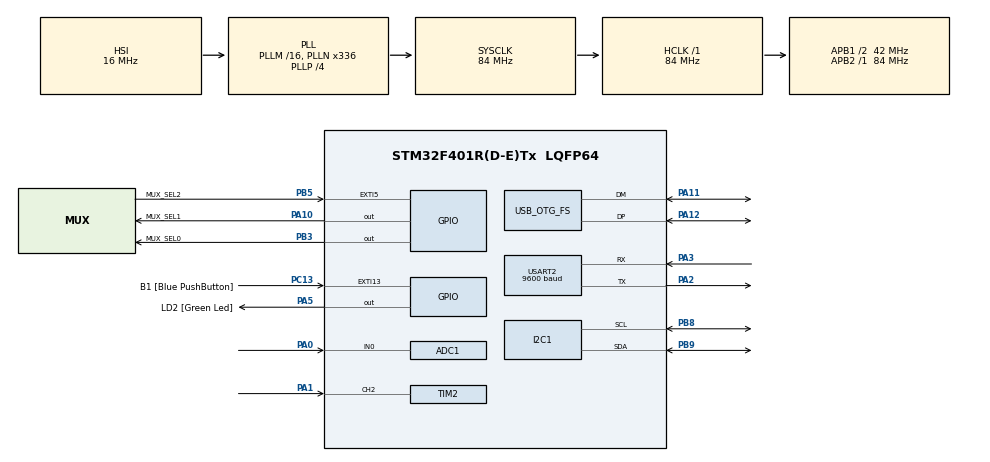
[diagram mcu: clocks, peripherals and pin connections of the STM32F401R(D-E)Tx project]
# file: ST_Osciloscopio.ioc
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ADC1.Channel-0\#ChannelRegularConversion=ADC_CHANNEL_0
ADC1.DMAContinuousRequests=ENABLE
ADC1.EOCSelection=ADC_EOC_SEQ_CONV
ADC1.ExternalTrigConv=ADC_EXTERNALTRIGCONV_T3_TRGO
ADC1.NbrOfConversionFlag=1
ADC1.Rank-0\#ChannelRegularConversion=1
ADC1.SamplingTime-0\#ChannelRegularConversion=ADC_SAMPLETIME_3CYCLES
ADC1.master=1
Dma.ADC1.1.Direction=DMA_PERIPH_TO_MEMORY
Dma.ADC1.1.FIFOMode=DMA_FIFOMODE_DISABLE
Dma.ADC1.1.Instance=DMA2_Stream0
Dma.ADC1.1.MemDataAlignment=DMA_MDATAALIGN_WORD
Dma.ADC1.1.MemInc=DMA_MINC_ENABLE
Dma.ADC1.1.Mode=DMA_NORMAL
Dma.ADC1.1.PeriphDataAlignment=DMA_PDATAALIGN_WORD
Dma.ADC1.1.PeriphInc=DMA_PINC_DISABLE
Dma.ADC1.1.Priority=DMA_PRIORITY_LOW
Dma.Request0=USART2_TX
Dma.Request1=ADC1
Dma.USART2_TX.0.Direction=DMA_MEMORY_TO_PERIPH
Dma.USART2_TX.0.FIFOMode=DMA_FIFOMODE_DISABLE
Dma.USART2_TX.0.Instance=DMA1_Stream6
Dma.USART2_TX.0.MemDataAlignment=DMA_MDATAALIGN_BYTE
Dma.USART2_TX.0.MemInc=DMA_MINC_ENABLE
Dma.USART2_TX.0.Mode=DMA_NORMAL
Dma.USART2_TX.0.PeriphDataAlignment=DMA_PDATAALIGN_BYTE
Dma.USART2_TX.0.PeriphInc=DMA_PINC_DISABLE
Dma.USART2_TX.0.Priority=DMA_PRIORITY_LOW
FREERTOS.Tasks01=defaultTask,0,128,StartDefaultTask,Default,NULL,Dynamic,NULL,NULL
Mcu.Family=STM32F4
Mcu.Name=STM32F401R(D-E)Tx
Mcu.Package=LQFP64
NVIC.DMA1_Stream6_IRQn=true\:5\:0\:false\:false\:true\:true\:false\:true\:true
NVIC.DMA2_Stream0_IRQn=true\:5\:0\:false\:false\:true\:true\:false\:true\:true
NVIC.OTG_FS_IRQn=true\:5\:0\:false\:false\:true\:true\:false\:true\:true
NVIC.PriorityGroup=NVIC_PRIORITYGROUP_4
NVIC.TIM1_UP_TIM10_IRQn=true\:15\:0\:false\:false\:true\:false\:false\:true\:true
NVIC.TIM2_IRQn=true\:5\:0\:false\:false\:true\:true\:true\:true\:true
NVIC.TIM3_IRQn=true\:5\:0\:false\:false\:true\:true\:true\:true\:true
NVIC.TimeBase=TIM1_UP_TIM10_IRQn
NVIC.TimeBaseIP=TIM1
PA0-WKUP.Signal=ADCx_IN0
PA1.GPIO_PuPd=GPIO_PULLUP
PA1.Signal=S_TIM2_CH2
PA10.GPIO_Label=MUX_SEL1
PA10.Signal=GPIO_Output
PA11.Mode=Device_Only
PA11.Signal=USB_OTG_FS_DM
PA12.Mode=Device_Only
PA12.Signal=USB_OTG_FS_DP
PA13.GPIO_Label=TMS
PA13.Mode=Serial_Wire
PA13.Signal=SYS_JTMS-SWDIO
PA14.GPIO_Label=TCK
PA14.Mode=Serial_Wire
PA14.Signal=SYS_JTCK-SWCLK
PA2.Mode=Asynchronous
PA2.Signal=USART2_TX
PA3.Mode=Asynchronous
PA3.Signal=USART2_RX
PA5.GPIO_Label=LD2 [Green Led]
PA5.GPIO_Mode=GPIO_MODE_OUTPUT_PP
PA5.GPIO_PuPd=GPIO_NOPULL
PA5.GPIO_Speed=GPIO_SPEED_FREQ_LOW
PA5.Signal=GPIO_Output
PB3.GPIO_Label=MUX_SEL0
PB3.Signal=GPIO_Output
PB5.GPIO_Label=MUX_SEL2
PB5.Signal=GPXTI5
PB8.Mode=I2C
PB8.Signal=I2C1_SCL
PB9.Mode=I2C
PB9.Signal=I2C1_SDA
PC13-ANTI_TAMP.GPIO_Label=B1 [Blue PushButton]
PC13-ANTI_TAMP.GPIO_ModeDefaultEXTI=GPIO_MODE_IT_FALLING
PC13-ANTI_TAMP.GPIO_PuPd=GPIO_NOPULL
PC13-ANTI_TAMP.Signal=GPXTI13
PC14-OSC32_IN.Mode=LSE-External-Oscillator
PC14-OSC32_IN.Signal=RCC_OSC32_IN
PC15-OSC32_OUT.Mode=LSE-External-Oscillator
PC15-OSC32_OUT.Signal=RCC_OSC32_OUT
PH0\ -\ OSC_IN.Mode=HSE-External-Clock-Source
PH0\ -\ OSC_IN.Signal=RCC_OSC_IN
PH1\ -\ OSC_OUT.Mode=HSE-External-Clock-Source
PH1\ -\ OSC_OUT.Signal=RCC_OSC_OUT
ProjectManager.HeapSize=0x200
ProjectManager.StackSize=0x400
ProjectManager.TargetToolchain=STM32CubeIDE
RCC.48MHZClocksFreq_Value=48000000
RCC.AHBFreq_Value=84000000
RCC.APB1CLKDivider=RCC_HCLK_DIV2
RCC.APB1Freq_Value=42000000
RCC.APB1TimFreq_Value=84000000
RCC.APB2Freq_Value=84000000
RCC.APB2TimFreq_Value=84000000
RCC.CortexFreq_Value=84000000
RCC.HCLKFreq_Value=84000000
RCC.HSE_VALUE=8000000
RCC.HSI_VALUE=16000000
RCC.PLLN=336
RCC.PLLP=RCC_PLLP_DIV4
RCC.PLLQ=7
RCC.PLLSource=RCC_PLLSOURCE_HSI
RCC.PLLSourceVirtualString=RCC_PLLSOURCE_HSI
RCC.SYSCLKFreq_VALUE=84000000
RCC.SYSCLKSource=RCC_SYSCLKSOURCE_PLLCLK
RCC.VCOOutputFreq_Value=336000000
SH.ADCx_IN0.0=ADC1_IN0,IN0
SH.S_TIM2_CH2.0=TIM2_CH2,Input_Capture2_from_TI2
TIM2.Channel-Input_Capture2_from_TI2=TIM_CHANNEL_2
TIM2.Prescaler=41999
TIM3.Prescaler=0
TIM3.TIM_MasterOutputTrigger=TIM_TRGO_UPDATE
TIM3.TIM_MasterSlaveMode=TIM_MASTERSLAVEMODE_DISABLE
USART2.BaudRate=9600
USART2.VirtualMode=VM_ASYNC
USB_DEVICE.CLASS_NAME_FS=CUSTOM_HID
USB_DEVICE.VirtualMode-CUSTOM_HID_FS=CustomHid
USB_DEVICE.VirtualModeFS=Custom_Hid_FS
USB_OTG_FS.VirtualMode=Device_Only
VP_FREERTOS_VS_CMSIS_V1.Mode=CMSIS_V1
VP_SYS_VS_tim1.Mode=TIM1
VP_TIM2_VS_ClockSourceINT.Mode=Internal
VP_TIM3_VS_ClockSourceINT.Mode=Internal
VP_USB_DEVICE_VS_USB_DEVICE_CUSTOM_HID_FS.Mode=CUSTOM_HID_FS
board=NUCLEO-F401RE

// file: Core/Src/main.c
/* USER CODE BEGIN Header */
/**
  ******************************************************************************
  * @file           : main.c
  * @brief          : Main program body
  ******************************************************************************
  * @attention
  *
  * Copyright (c) 2022 STMicroelectronics.
  * All rights reserved.
  *
  * This software is licensed under terms that can be found in the LICENSE file
  * in the root directory of this software component.
  * If no LICENSE file comes with this software, it is provided AS-IS.
  *
  ******************************************************************************
  */
/* USER CODE END Header */
#include "main.h"
#include "cmsis_os.h"
#include "usb_device.h"

/* USER CODE BEGIN Includes */
#include "arm_math.h"
#include "arm_const_structs.h"
#include "usbd_custom_hid_if.h"
#include "usbd_customhid.h"
/* USER CODE END Includes */

/* USER CODE BEGIN PD */
#define	NS				512
/* USER CODE END PD */

/* USER CODE BEGIN PM */
extern uint32_t Wave_LUT[NS];
uint32_t adc_buffer[NS];
uint8_t bufferTx[1024];
uint8_t flag = 0;
int trigger_point = 1;
int trigger_level = 2048;
/* USER CODE END PM */

ADC_HandleTypeDef hadc1;
DMA_HandleTypeDef hdma_adc1;

I2C_HandleTypeDef hi2c1;

TIM_HandleTypeDef htim2;
TIM_HandleTypeDef htim3;

UART_HandleTypeDef huart2;
DMA_HandleTypeDef hdma_usart2_tx;

osThreadId defaultTaskHandle;
/* USER CODE BEGIN PV */
uint8_t pData [10] = {'\0'};
SemaphoreHandle_t xSemaphoreFrecuency1 = NULL;
SemaphoreHandle_t xSemaphoreFrecuency0 = NULL;

uint32_t Cuenta = 0;
uint32_t Frecuencia = 0;
/* USER CODE END PV */

void SystemClock_Config(void);
static void MX_GPIO_Init(void);
static void MX_DMA_Init(void);
static void MX_I2C1_Init(void);
static void MX_TIM2_Init(void);
static void MX_ADC1_Init(void);
static void MX_TIM3_Init(void);
static void MX_USART2_UART_Init(void);
void StartDefaultTask(void const * argument);

/* USER CODE BEGIN 0 */
void HAL_ADC_ConvCpltCallback(ADC_HandleTypeDef* hadc)
{
	int i;
	int j = 0;
	for(i = 0; i < NS; i++)
	{
	  bufferTx[j] = (uint8_t)((adc_buffer[i]>>8)&0xFF);
	  bufferTx[j+1] = (uint8_t)((adc_buffer[i])&0xFF);
	  j+=2;
	}
}
void HAL_ADC_ConvHalfCpltCallback(ADC_HandleTypeDef* hadc){
	/*
	for(int i = 0; i <= NS; i++)
	{
		// flanco descendente
		if((adc_buffer[i] > trigger_level ) && (adc_buffer[i+1]) < trigger_level )
		{
			trigger_point = i;
			break;
		}
	}
	*/
}

void HAL_TIM_IC_CaptureCallback(TIM_HandleTypeDef *htim)
{
	/*
	if(flag){
		HAL_ADC_Start_DMA(&hadc1, adc_buffer, 2048);
		flag = 0;
	}
	*/
	BaseType_t xHigherPriorityTaskWoken = pdFALSE;
	xSemaphoreGiveFromISR( xSemaphoreFrecuency0, &xHigherPriorityTaskWoken );
	portYIELD_FROM_ISR( xHigherPriorityTaskWoken );
}

void TaskFreucuency (void * parameters)
{

	HAL_TIM_IC_Start_IT(&htim2, TIM_CHANNEL_2);
	uint32_t i;
	i = (uint32_t) parameters;
	switch(i)
	{
	case 0:
		HAL_GPIO_WritePin(MUX_SEL0_GPIO_Port, MUX_SEL0_Pin, GPIO_PIN_RESET);
		HAL_GPIO_WritePin(MUX_SEL1_GPIO_Port, MUX_SEL1_Pin, GPIO_PIN_RESET);
		HAL_GPIO_WritePin(MUX_SEL2_GPIO_Port, MUX_SEL2_Pin, GPIO_PIN_RESET);
		while(1)
		{
			if(xSemaphoreTake(xSemaphoreFrecuency0, portMAX_DELAY) == pdTRUE)
			{
				Cuenta++;
			}
			if(xSemaphoreTake(xSemaphoreFrecuency1,0)==pdTRUE)
			{
				Frecuencia = (uint32_t)(1.024 * ((float) Cuenta) -2.1196);
				//Frecuencia = Cuenta;
				Cuenta = 0;
				pData[0] = (uint8_t) (Frecuencia/10000) + '0';
				Frecuencia %=10000;
				pData[1] = (uint8_t) (Frecuencia/1000) + '0';
				Frecuencia %=1000;
				pData[2] = ',';
				pData[3] = (uint8_t) (Frecuencia/100) + '0';
				Frecuencia %=100;
				pData[4] = (uint8_t) (Frecuencia/10) + '0';
				Frecuencia %=10;
				pData[5] = (uint8_t) (Frecuencia) + '0';
				pData[6] = 'H';
				pData[7] = 'z';
				pData[8] = '\r';
				pData[9] = '\n';
				if(pData[0] == '0')
				{
					if(pData[1]== '0')
					{
						if(pData[3]=='0')
						{
							pData[6] = 'H';
							pData[7] = 'z';
							pData[8] = '\r';
							pData[9] = '\n';
							HAL_UART_Transmit(&huart2, &pData[4], 6, HAL_MAX_DELAY);

						} else {
							pData[6] = 'H';
							pData[7] = 'z';
							pData[8] = '\r';
							pData[9] = '\n';
							HAL_UART_Transmit(&huart2, &pData[3], 7, HAL_MAX_DELAY);
						}

					} else {
						pData[5] = 'K';
						pData[6] = 'H';
						pData[7] = 'z';
						pData[8] = '\r';
						pData[9] = '\n';
						HAL_UART_Transmit(&huart2, &pData[1], 10, HAL_MAX_DELAY);
									}
				}  else {
					pData[5] = 'K';
					pData[6] = 'H';
					pData[7] = 'z';
					pData[8] = '\r';
					pData[9] = '\n';
					HAL_UART_Transmit(&huart2, pData, 10, HAL_MAX_DELAY);
				}
			}

		}
	case 1:
		while(1)
		{
			vTaskDelay(1000/portTICK_RATE_MS);
			xSemaphoreGive(xSemaphoreFrecuency1);
		}
	}
}

/* USER CODE END 0 */

int main(void)
{

  /* MCU Configuration--------------------------------------------------------*/

  /* Reset of all peripherals, Initializes the Flash interface and the Systick. */
  HAL_Init();

  /* Configure the system clock */
  SystemClock_Config();

  /* Initialize all configured peripherals */
  MX_GPIO_Init();
  MX_DMA_Init();
  MX_I2C1_Init();
  MX_TIM2_Init();
  MX_ADC1_Init();
  MX_TIM3_Init();
  MX_USART2_UART_Init();
  /* USER CODE BEGIN 2 */
  MX_USB_DEVICE_Init();
  HAL_ADC_Start_DMA(&hadc1, adc_buffer, NS);
  HAL_TIM_Base_Start(&htim3);
  HAL_GPIO_WritePin(MUX_SEL0_GPIO_Port, MUX_SEL0_Pin, GPIO_PIN_RESET);
  HAL_GPIO_WritePin(MUX_SEL1_GPIO_Port, MUX_SEL1_Pin, GPIO_PIN_RESET);
  HAL_GPIO_WritePin(MUX_SEL2_GPIO_Port, MUX_SEL2_Pin, GPIO_PIN_RESET);
  /* USER CODE END 2 */

  /* USER CODE BEGIN RTOS_SEMAPHORES */
  xSemaphoreFrecuency1 = xSemaphoreCreateBinary();
  xSemaphoreTake(xSemaphoreFrecuency1, 0);
  xSemaphoreFrecuency0 = xSemaphoreCreateBinary();
  xSemaphoreTake(xSemaphoreFrecuency0, 0);
  /* USER CODE END RTOS_SEMAPHORES */

  /* Create the thread(s) */
  /* definition and creation of defaultTask */

  /* USER CODE BEGIN RTOS_THREADS */
  xTaskCreate(TaskFreucuency, "Task Freucuency 0", configMINIMAL_STACK_SIZE, (void*)0, tskIDLE_PRIORITY+1, NULL);
  xTaskCreate(TaskFreucuency, "Task Freucuency 1", configMINIMAL_STACK_SIZE, (void*)1, tskIDLE_PRIORITY+1, NULL);
  /* USER CODE END RTOS_THREADS */

  /* Start scheduler */

  /* We should never get here as control is now taken by the scheduler */
  /* Infinite loop */
  /* USER CODE BEGIN WHILE */
  vTaskStartScheduler();
  while (1)
  {
    /* USER CODE END WHILE */

  }
}

void SystemClock_Config(void)
{
  RCC_OscInitTypeDef RCC_OscInitStruct = {0};
  RCC_ClkInitTypeDef RCC_ClkInitStruct = {0};

  /** Configure the main internal regulator output voltage
  */
  __HAL_RCC_PWR_CLK_ENABLE();
  __HAL_PWR_VOLTAGESCALING_CONFIG(PWR_REGULATOR_VOLTAGE_SCALE2);

  /** Initializes the RCC Oscillators according to the specified parameters
  * in the RCC_OscInitTypeDef structure.
  */
  RCC_OscInitStruct.OscillatorType = RCC_OSCILLATORTYPE_HSI;
  RCC_OscInitStruct.HSIState = RCC_HSI_ON;
  RCC_OscInitStruct.HSICalibrationValue = RCC_HSICALIBRATION_DEFAULT;
  RCC_OscInitStruct.PLL.PLLState = RCC_PLL_ON;
  RCC_OscInitStruct.PLL.PLLSource = RCC_PLLSOURCE_HSI;
  RCC_OscInitStruct.PLL.PLLM = 16;
  RCC_OscInitStruct.PLL.PLLN = 336;
  RCC_OscInitStruct.PLL.PLLP = RCC_PLLP_DIV4;
  RCC_OscInitStruct.PLL.PLLQ = 7;
  if (HAL_RCC_OscConfig(&RCC_OscInitStruct) != HAL_OK)
  {
    Error_Handler();
  }

  /** Initializes the CPU, AHB and APB buses clocks
  */
  RCC_ClkInitStruct.ClockType = RCC_CLOCKTYPE_HCLK|RCC_CLOCKTYPE_SYSCLK
                              |RCC_CLOCKTYPE_PCLK1|RCC_CLOCKTYPE_PCLK2;
  RCC_ClkInitStruct.SYSCLKSource = RCC_SYSCLKSOURCE_PLLCLK;
  RCC_ClkInitStruct.AHBCLKDivider = RCC_SYSCLK_DIV1;
  RCC_ClkInitStruct.APB1CLKDivider = RCC_HCLK_DIV2;
  RCC_ClkInitStruct.APB2CLKDivider = RCC_HCLK_DIV1;

  if (HAL_RCC_ClockConfig(&RCC_ClkInitStruct, FLASH_LATENCY_2) != HAL_OK)
  {
    Error_Handler();
  }
}

static void MX_ADC1_Init(void)
{

  ADC_ChannelConfTypeDef sConfig = {0};

  /** Configure the global features of the ADC (Clock, Resolution, Data Alignment and number of conversion)
  */
  hadc1.Instance = ADC1;
  hadc1.Init.ClockPrescaler = ADC_CLOCK_SYNC_PCLK_DIV4;
  hadc1.Init.Resolution = ADC_RESOLUTION_12B;
  hadc1.Init.ScanConvMode = DISABLE;
  hadc1.Init.ContinuousConvMode = DISABLE;
  hadc1.Init.DiscontinuousConvMode = DISABLE;
  hadc1.Init.ExternalTrigConvEdge = ADC_EXTERNALTRIGCONVEDGE_RISING;
  hadc1.Init.ExternalTrigConv = ADC_EXTERNALTRIGCONV_T3_TRGO;
  hadc1.Init.DataAlign = ADC_DATAALIGN_RIGHT;
  hadc1.Init.NbrOfConversion = 1;
  hadc1.Init.DMAContinuousRequests = ENABLE;
  hadc1.Init.EOCSelection = ADC_EOC_SEQ_CONV;
  if (HAL_ADC_Init(&hadc1) != HAL_OK)
  {
    Error_Handler();
  }

  /** Configure for the selected ADC regular channel its corresponding rank in the sequencer and its sample time.
  */
  sConfig.Channel = ADC_CHANNEL_0;
  sConfig.Rank = 1;
  sConfig.SamplingTime = ADC_SAMPLETIME_3CYCLES;
  if (HAL_ADC_ConfigChannel(&hadc1, &sConfig) != HAL_OK)
  {
    Error_Handler();
  }

}

static void MX_I2C1_Init(void)
{

  hi2c1.Instance = I2C1;
  hi2c1.Init.ClockSpeed = 100000;
  hi2c1.Init.DutyCycle = I2C_DUTYCYCLE_2;
  hi2c1.Init.OwnAddress1 = 0;
  hi2c1.Init.AddressingMode = I2C_ADDRESSINGMODE_7BIT;
  hi2c1.Init.DualAddressMode = I2C_DUALADDRESS_DISABLE;
  hi2c1.Init.OwnAddress2 = 0;
  hi2c1.Init.GeneralCallMode = I2C_GENERALCALL_DISABLE;
  hi2c1.Init.NoStretchMode = I2C_NOSTRETCH_DISABLE;
  if (HAL_I2C_Init(&hi2c1) != HAL_OK)
  {
    Error_Handler();
  }

}

static void MX_TIM2_Init(void)
{

  TIM_ClockConfigTypeDef sClockSourceConfig = {0};
  TIM_MasterConfigTypeDef sMasterConfig = {0};
  TIM_IC_InitTypeDef sConfigIC = {0};

  htim2.Instance = TIM2;
  htim2.Init.Prescaler = 41999;
  htim2.Init.CounterMode = TIM_COUNTERMODE_UP;
  htim2.Init.Period = 4294967295;
  htim2.Init.ClockDivision = TIM_CLOCKDIVISION_DIV1;
  htim2.Init.AutoReloadPreload = TIM_AUTORELOAD_PRELOAD_DISABLE;
  if (HAL_TIM_Base_Init(&htim2) != HAL_OK)
  {
    Error_Handler();
  }
  sClockSourceConfig.ClockSource = TIM_CLOCKSOURCE_INTERNAL;
  if (HAL_TIM_ConfigClockSource(&htim2, &sClockSourceConfig) != HAL_OK)
  {
    Error_Handler();
  }
  if (HAL_TIM_IC_Init(&htim2) != HAL_OK)
  {
    Error_Handler();
  }
  sMasterConfig.MasterOutputTrigger = TIM_TRGO_RESET;
  sMasterConfig.MasterSlaveMode = TIM_MASTERSLAVEMODE_DISABLE;
  if (HAL_TIMEx_MasterConfigSynchronization(&htim2, &sMasterConfig) != HAL_OK)
  {
    Error_Handler();
  }
  sConfigIC.ICPolarity = TIM_INPUTCHANNELPOLARITY_RISING;
  sConfigIC.ICSelection = TIM_ICSELECTION_DIRECTTI;
  sConfigIC.ICPrescaler = TIM_ICPSC_DIV1;
  sConfigIC.ICFilter = 0;
  if (HAL_TIM_IC_ConfigChannel(&htim2, &sConfigIC, TIM_CHANNEL_2) != HAL_OK)
  {
    Error_Handler();
  }

}

static void MX_TIM3_Init(void)
{

  /* USER CODE BEGIN TIM3_Init 0 */
	/*
	  htim3.Init.Period = 60;	fs = 700kHz  fmin = 7,142KHz	fmax = 28,57kHz
	  htim3.Init.Period = 168;	fs = 250kHz  fmin = 2560Hz fmax = 10,24kHz
	  htim3.Init.Period = 667;  fs = 63KHz   fmin = 640Hz fmax = 2560Hz

	  htim3.Init.Period = 2675; fs=15,7KHz fmin = 160Hz fmax = 640Hz
	  htim3.Init.Period = 10769; fs=3,9KHz fmin = 40Hz fmax = 160Hz
	  htim3.Init.Period = 42857; fs=980Hz fmin = 10Hz fmax = 40Hz
	*/
  /* USER CODE END TIM3_Init 0 */

  TIM_ClockConfigTypeDef sClockSourceConfig = {0};
  TIM_MasterConfigTypeDef sMasterConfig = {0};

  htim3.Instance = TIM3;
  htim3.Init.Prescaler = 1;
  htim3.Init.CounterMode = TIM_COUNTERMODE_UP;
  htim3.Init.Period = 2675-1;
  htim3.Init.ClockDivision = TIM_CLOCKDIVISION_DIV1;
  htim3.Init.AutoReloadPreload = TIM_AUTORELOAD_PRELOAD_DISABLE;
  if (HAL_TIM_Base_Init(&htim3) != HAL_OK)
  {
    Error_Handler();
  }
  sClockSourceConfig.ClockSource = TIM_CLOCKSOURCE_INTERNAL;
  if (HAL_TIM_ConfigClockSource(&htim3, &sClockSourceConfig) != HAL_OK)
  {
    Error_Handler();
  }
  sMasterConfig.MasterOutputTrigger = TIM_TRGO_UPDATE;
  sMasterConfig.MasterSlaveMode = TIM_MASTERSLAVEMODE_DISABLE;
  if (HAL_TIMEx_MasterConfigSynchronization(&htim3, &sMasterConfig) != HAL_OK)
  {
    Error_Handler();
  }

}

static void MX_USART2_UART_Init(void)
{

  huart2.Instance = USART2;
  huart2.Init.BaudRate = 9600;
  huart2.Init.WordLength = UART_WORDLENGTH_8B;
  huart2.Init.StopBits = UART_STOPBITS_1;
  huart2.Init.Parity = UART_PARITY_NONE;
  huart2.Init.Mode = UART_MODE_TX_RX;
  huart2.Init.HwFlowCtl = UART_HWCONTROL_NONE;
  huart2.Init.OverSampling = UART_OVERSAMPLING_16;
  if (HAL_UART_Init(&huart2) != HAL_OK)
  {
    Error_Handler();
  }

}

static void MX_DMA_Init(void)
{

  /* DMA controller clock enable */
  __HAL_RCC_DMA1_CLK_ENABLE();
  __HAL_RCC_DMA2_CLK_ENABLE();

  /* DMA interrupt init */
  /* DMA1_Stream6_IRQn interrupt configuration */
  HAL_NVIC_SetPriority(DMA1_Stream6_IRQn, 5, 0);
  HAL_NVIC_EnableIRQ(DMA1_Stream6_IRQn);
  /* DMA2_Stream0_IRQn interrupt configuration */
  HAL_NVIC_SetPriority(DMA2_Stream0_IRQn, 5, 0);
  HAL_NVIC_EnableIRQ(DMA2_Stream0_IRQn);

}

static void MX_GPIO_Init(void)
{
  GPIO_InitTypeDef GPIO_InitStruct = {0};

  /* GPIO Ports Clock Enable */
  __HAL_RCC_GPIOC_CLK_ENABLE();
  __HAL_RCC_GPIOH_CLK_ENABLE();
  __HAL_RCC_GPIOA_CLK_ENABLE();
  __HAL_RCC_GPIOB_CLK_ENABLE();

  /*Configure GPIO pin Output Level */
  HAL_GPIO_WritePin(GPIOA, LD2_Pin|MUX_SEL1_Pin, GPIO_PIN_RESET);

  /*Configure GPIO pin Output Level */
  HAL_GPIO_WritePin(MUX_SEL0_GPIO_Port, MUX_SEL0_Pin, GPIO_PIN_RESET);

  /*Configure GPIO pin : B1_Pin */
  GPIO_InitStruct.Pin = B1_Pin;
  GPIO_InitStruct.Mode = GPIO_MODE_IT_FALLING;
  GPIO_InitStruct.Pull = GPIO_NOPULL;
  HAL_GPIO_Init(B1_GPIO_Port, &GPIO_InitStruct);

  /*Configure GPIO pins : LD2_Pin MUX_SEL1_Pin */
  GPIO_InitStruct.Pin = LD2_Pin|MUX_SEL1_Pin;
  GPIO_InitStruct.Mode = GPIO_MODE_OUTPUT_PP;
  GPIO_InitStruct.Pull = GPIO_NOPULL;
  GPIO_InitStruct.Speed = GPIO_SPEED_FREQ_LOW;
  HAL_GPIO_Init(GPIOA, &GPIO_InitStruct);

  /*Configure GPIO pin : MUX_SEL0_Pin */
  GPIO_InitStruct.Pin = MUX_SEL0_Pin;
  GPIO_InitStruct.Mode = GPIO_MODE_OUTPUT_PP;
  GPIO_InitStruct.Pull = GPIO_NOPULL;
  GPIO_InitStruct.Speed = GPIO_SPEED_FREQ_LOW;
  HAL_GPIO_Init(MUX_SEL0_GPIO_Port, &GPIO_InitStruct);

  /*Configure GPIO pin : MUX_SEL2_Pin */
  GPIO_InitStruct.Pin = MUX_SEL2_Pin;
  GPIO_InitStruct.Mode = GPIO_MODE_IT_RISING;
  GPIO_InitStruct.Pull = GPIO_NOPULL;
  HAL_GPIO_Init(MUX_SEL2_GPIO_Port, &GPIO_InitStruct);

}

void StartDefaultTask(void const * argument)
{
  /* init code for USB_DEVICE */
  MX_USB_DEVICE_Init();
  for(;;)
  {
    osDelay(1);
  }
}

void HAL_TIM_PeriodElapsedCallback(TIM_HandleTypeDef *htim)
{
  if (htim->Instance == TIM1) {
    HAL_IncTick();
  }
}

void Error_Handler(void)
{
  __disable_irq();
  while (1)
  {
  }
}
